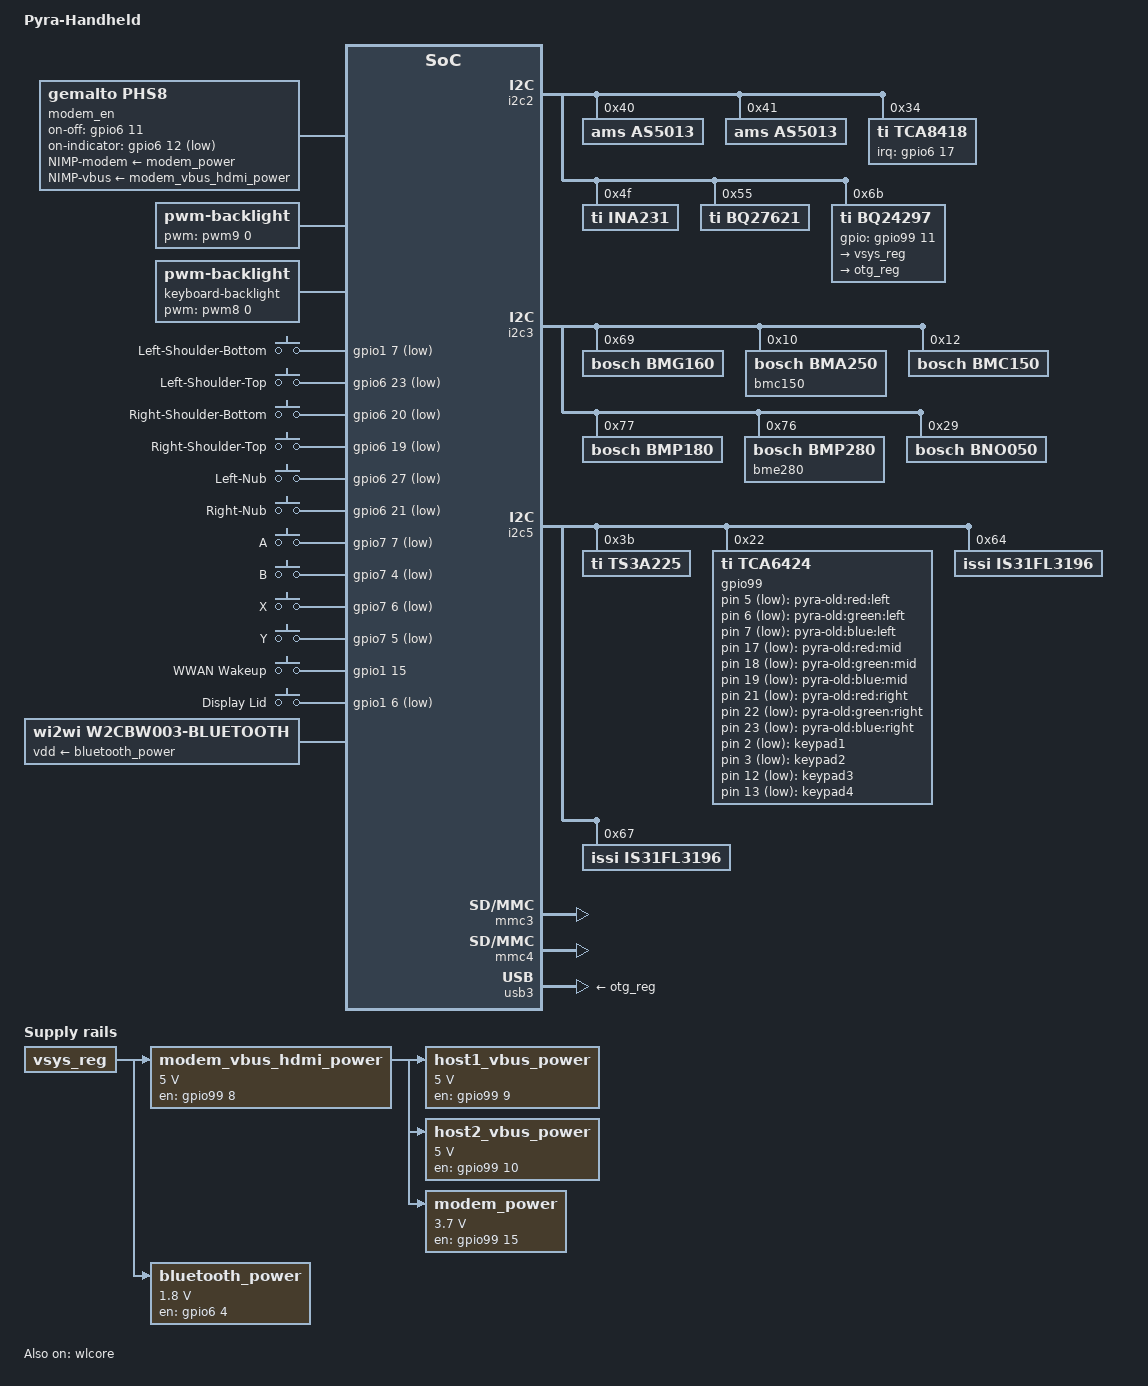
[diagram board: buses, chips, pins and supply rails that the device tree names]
/*
 * Copyright (C) 2015 OpenPandora - http://www.pyra-handheld.com/
 *
 * This program is free software; you can redistribute it and/or modify
 * it under the terms of the GNU General Public License version 2 as
 * published by the Free Software Foundation.
 */

/* overwrite device model */

/ {
	model = "Pyra-Handheld";

	/* common DC/DC converter for USB Host ports, Modem USB and HDMI 5V */
	modem_vbus_hdmi_power: tps2505_reg {
		compatible = "regulator-fixed";
		regulator-name = "modem_vbus_hdmi_power";
		regulator-min-microvolt = <5000000>;
		regulator-max-microvolt = <5000000>;
		gpio = <&gpio99 8 GPIO_ACTIVE_HIGH>;
		enable-active-high;
		startup-delay-us = <70000>;
		vin-supply = <&vsys_reg>;
		regulator-always-on;
	};

	/* this are the DC/DC converters that supply the
	   5V to USB devices connected to the Host ports.
	   They should be under the (software) control
	   of the USB3503A hub on the CPU board */

	host1_vbus_power: host1_vbus_power_reg {
		compatible = "regulator-fixed";
		regulator-name = "host1_vbus_power";
		regulator-min-microvolt = <5000000>;
		regulator-max-microvolt = <5000000>;
		gpio = <&gpio99 9 GPIO_ACTIVE_HIGH>;
		enable-active-high;
		startup-delay-us = <70000>;
		vin-supply = <&modem_vbus_hdmi_power>;
		regulator-always-on;
	};

	host2_vbus_power: host2_vbus_power_reg {
		compatible = "regulator-fixed";
		regulator-name = "host2_vbus_power";
		regulator-min-microvolt = <5000000>;
		regulator-max-microvolt = <5000000>;
		gpio = <&gpio99 10 GPIO_ACTIVE_HIGH>;
		enable-active-high;
		startup-delay-us = <70000>;
		vin-supply = <&modem_vbus_hdmi_power>;
		regulator-always-on;
	};

	/* this is the modem power switch (similar to a LDO) */
	modem_power: modem_power_reg {
		compatible = "regulator-fixed";
		regulator-name = "modem_vbus_power";
		regulator-min-microvolt = <3700000>;
		regulator-max-microvolt = <3700000>;
		gpio = <&gpio99 15 GPIO_ACTIVE_HIGH>;
		enable-active-high;
		startup-delay-us = <100000>;
		/* the real input is vsys but it makes no sense
		   to power the modem without requesting vbus */
		vin-supply = <&modem_vbus_hdmi_power>;
		regulator-always-on;
	};

	modem_en: modem { /* control modem power through rfkill */
		compatible = "gemalto,phs8";
		gpio-controller;
		#gpio-cells = <2>;
		pinctrl-names = "default";
		pinctrl-0 = <&pyra_modem_pins>;
		NIMP-usb-port = <&hsusb2_phy>; 	/* USB phy where we can check the modem status */
		on-off-gpio = <&gpio6 11 GPIO_ACTIVE_HIGH>;	/* gpio6_171: trigger to power on modem */
		on-indicator-gpio = <&gpio6 12 GPIO_ACTIVE_LOW>;	/* gpio6_172: modem power indication feedback GPIO */
		NIMP-modem-supply = <&modem_power>;		/* enable some external power regulator */
		/* VBUS supply should probably be controlled through the USB PHY driver for the modem port */
		NIMP-vbus-supply = <&modem_vbus_hdmi_power>;	/* apply VBUS to the modem */
	};

	backlight {
		compatible = "pwm-backlight";
		pwms = <&pwm9 0 2000000 0>;
		pwm-names = "backlight";
		brightness-levels = <0 11 20 30 40 50 60 70 80 90 100>;
		default-brightness-level = <10>;	/* => 90 */
		pinctrl-names = "default";
		pinctrl-0 = <&backlight_pins>;
	};

	pwm9: dmtimer-pwm@9 {
		compatible = "ti,omap-dmtimer-pwm";
		ti,timers = <&timer9>;
		#pwm-cells = <3>;
	};

	keyboard-backlight {
		compatible = "pwm-backlight";
		pwms = <&pwm8 0 2000000 0>;
		pwm-names = "keyboard";
		brightness-levels = <0 10 20 30 40 50 60 70 80 90 100>;
		default-brightness-level = <5>;
		pinctrl-names = "default";
		pinctrl-0 = <&keyboard_backlight_pins>;
	};

	pwm8: dmtimer-pwm@8 {
		compatible = "ti,omap-dmtimer-pwm";
		ti,timers = <&timer8>;
		#pwm-cells = <3>;
	};

};

/* add overlay pimmux for pyra on 5432evm */

&omap5_pmx_core {

	pinctrl-0 = <
			/* copied from original */
			&usbhost_pins
			&led_gpio_pins

			/* new entries */
			&pyra_button_pins
			&pyra_other_pins
	>;

/* this is for DragonFly V4 with the letux Cortex15 CPU board
// inputs
#define GPIO_LID 6			// lid close sensor - gpio1_wk6 - open collector output
#define GPIO_3G_PWR 172			// modem power indication - gpio6_172
#define GPIO_WAKEUP 15			// wakeup from modem - gpio1_wk15
#define GPIO_PENIRQ 173			// touch screen controller IRQ - gpio6_173
#define GPIO_LNUB_IRQ 175		// left nub IRQ - gpio6_175
#define GPIO_RNUB_IRQ 174		// right nub IRQ - gpio6_174
#define GPIO_KEYIRQ 177			// keyboard controller IRQ - gpio6-177
#define GPIO_RSH_TOP 179		// right top shoulder button - gpio6-179 - closes to GND
#define GPIO_RSH_BOT 180		// right bottom shoulder button - gpio6-180 - closes to GND
#define GPIO_RNUB 181			// right nub center button - gpio6-181 - closes to GND
#define GPIO_LNUB 187			// left nub center button - gpio6-187 - closes to GND
#define GPIO_LSH_TOP 183		// left top shoulder button - gpio6-183 - closes to GND
#define GPIO_LSH_BOT 7			// left bottom shoulder button - gpio1_wk7 - closes to GND
#define GPIO_VSYNC 189			// VSYNC input (gpio6_189 in: comes from panel)
// outputs
#define GPIO_3G_IGNITE 171		// start modem (active high pulse) - gpio6_171
#define GPIO_DISPEN 162			// enable TPS65133 or ssd2858 - gpio6_162
#define GPIO_DISPLAY_RESET 176		// panel reset (active low)/enable - gpio6_176
#define GPIO_PWM 190			// enable 18V backlight (active high) - timer9/gpio6_190 (out) - or input to track what the panel is doing
#define GPIO_PERIPHERAL_RESET 144	// device reset (active low)/enable - gpio5_144
*/

/* to find pinmux register offsets, see section A.7.2 in TRM

   note: offsets in the table are relative to 0x4a00 2800
   but reg = <0x4a002840 0x01b6> for omap5_pmx_core

   Therefore gpio5_153 with Address Offset 0x1D4
   translates into 0x194 (0xd0-0x40 => 0x90)
   and because it has [31:16] we have to add 0x02
   giving a result of 0x196.

   Definitions for bit patterns:
   0x0007	MUX_MODE0 .. MUX_MODE7
   0x0008	enable pull up/down
   0x0010	select pull up
   0x0020	disable power for I/O cell
   0x0100	enable input buffer (there is no explicit "enable output buffer" because that is defined by the GPIO direction)
   0x4000	enable wakeup detection

   or use the OMAP5_IOPAD() macros to do the conversion. You still have to look
   up the pin and register address offset in the TRM.
*/

	pyra_button_pins: pinmux_button_gpio_pins {
		pinctrl-single,pins = <
			OMAP5_IOPAD(0x1bc, PIN_INPUT_PULLUP | MUX_MODE6)	/* 0x1BC:[15:0] gpio5_140 - U */
			OMAP5_IOPAD(0x1be, PIN_INPUT_PULLUP | MUX_MODE6)	/* 0x1BC:[31:16] gpio5_141 - L */
			OMAP5_IOPAD(0x1c0, PIN_INPUT_PULLUP | MUX_MODE6)	/* 0x1C0:[15:0] gpio5_142 - D */
			OMAP5_IOPAD(0x1c2, PIN_INPUT_PULLUP | MUX_MODE6)	/* 0x1C0:[31:16] gpio5_143 - R */
			OMAP5_IOPAD(0x108, PIN_INPUT_PULLUP | MUX_MODE6)	/* 0x108:[15:0]  gpio6_179 - rsh-top */
			OMAP5_IOPAD(0x106, PIN_INPUT_PULLUP | MUX_MODE6)	/* 0x104:[31:16] gpio6_180 - rsh-bot */
			OMAP5_IOPAD(0x104, PIN_INPUT_PULLUP | MUX_MODE6)	/* 0x104:[15:0]  gpio6_181 - right nub */
			OMAP5_IOPAD(0x132, PIN_INPUT_PULLUP | MUX_MODE6)	/* 0x130:[31:16] gpio6_183 - lsh-top */
			OMAP5_IOPAD(0x13a, PIN_INPUT_PULLUP | MUX_MODE6)	/* 0x138:[31:16]  gpio6_187 - left nub */
			OMAP5_IOPAD(0x102, PIN_INPUT_PULLUP | MUX_MODE6)	/* 0x100:[31:16] gpio7_196 - B */
			OMAP5_IOPAD(0x0fc, PIN_INPUT_PULLUP | MUX_MODE6)	/* 0x0FC:[15:0] gpio7_197 - Y */
			OMAP5_IOPAD(0x0fe, PIN_INPUT_PULLUP | MUX_MODE6)	/* 0x0FC:[31:16] gpio7_198 - X */
			OMAP5_IOPAD(0x100, PIN_INPUT_PULLUP | MUX_MODE6)	/* 0x100:[15:0] gpio7_199 - A */
		>;
	};

	pyra_other_pins: pinmux_other_gpio_pins {
		pinctrl-single,pins = <
			OMAP5_IOPAD(0x0aa, PIN_INPUT_PULLUP | MUX_MODE6)	/* 0x0A8:[31:16] gpio3_77 - mmc3-cd */
			OMAP5_IOPAD(0x0ae, PIN_INPUT_PULLUP | MUX_MODE6)	/* 0x0AC:[31:16] gpio3_79 - mmc3-wp */
/* gpio 3_84-87 = BT HCI uart2 */
/* gpio 4_97-100 = GSM PCM mcbsp3 */
/* gpio 4_101-104 = BT PCM mcbsp1 */
/* gpio 4_105-107 = FM/DAC PCM mcbsp2 */
/* gpio 5_128-133 = mmc3 = wifi dsio */
/* gpio 5_134-137 = mmc4 = right SD slot */
			OMAP5_IOPAD(0x1c4, PIN_INPUT_PULLUP | MUX_MODE6)	/* 0x1C4:[15:0]  gpio5_144 - reset I2C peripherals */
/* gpio 5_155-156 = mmc4 = right SD slot / uart3 debug */
			OMAP5_IOPAD(0x114, PIN_INPUT | MUX_MODE6)	/* 0x114:[15:0]  gpio6_160 - revision 1 */
			OMAP5_IOPAD(0x12c, PIN_INPUT_PULLUP | MUX_MODE6)	/* 0x12C:[15:0]  gpio6_161 - TCA6424 active low interrupt */

/* next should be outputs and controlled by some driver (e.g. regulator-fixed) */
			OMAP5_IOPAD(0x128, PIN_INPUT_PULLDOWN | MUX_MODE6)	/* 0x128:[15:0]  gpio6_165 - Speaker EN */

/* gpio 5_167-168 = uart3 Pyra console - is handled by MLO! */
			OMAP5_IOPAD(0x11c, PIN_INPUT_PULLUP | MUX_MODE6)	/* 0x11C:[15:0]  gpio6_169 - Accelerometer interrupt */
			OMAP5_IOPAD(0x11a, PIN_INPUT_PULLUP | MUX_MODE6)	/* 0x118:[31:16]  gpio6_170 - Magnetometer interrupt */
			OMAP5_IOPAD(0x114, PIN_INPUT_PULLUP | MUX_MODE6)	/* 0x114:[15:0]  gpio6_173 - touch screen penirq */
			OMAP5_IOPAD(0x112, PIN_INPUT_PULLUP | MUX_MODE6)	/* 0x110:[31:16]  gpio6_174 - right NUB int */
			OMAP5_IOPAD(0x110, PIN_INPUT_PULLUP | MUX_MODE6)	/* 0x110:[15:0]  gpio6_175 - left NUB int */
			OMAP5_IOPAD(0x10c, PIN_INPUT_PULLUP | MUX_MODE6)	/* 0x10C:[15:0]  gpio6_177 - keyboard int */
			OMAP5_IOPAD(0x10a, PIN_INPUT_PULLUP | MUX_MODE6)	/* 0x108:[31:16]  gpio6_178 - fm int */
			OMAP5_IOPAD(0x130, PIN_INPUT | MUX_MODE6)	/* 0x130:[15:0]  gpio6_182 - revision 2 */
			OMAP5_IOPAD(0x136, PIN_INPUT | MUX_MODE6)	/* 0x134:[31:16]  gpio6_185 - revision 3 */
			OMAP5_IOPAD(0x138, PIN_INPUT_PULLUP | MUX_MODE6)	/* 0x138:[15:0]  gpio6_186 - Gyroscope interrupt */
/* gpio 8_228-229 = mmc1 = left SD slot WP/CD */
		>;
	};

	pyra_modem_pins: pinmux_moden_gpio_pins {
		pinctrl-single,pins = <
			OMAP5_IOPAD(0x118, PIN_OUTPUT_PULLDOWN | MUX_MODE6)	/* 0x118:[15:0]  gpio6_171 - modem ignite */
			OMAP5_IOPAD(0x116, PIN_INPUT | MUX_MODE6)	/* 0x114:[31:16]  gpio6_172 - modem power indication */
		>;
	};

	backlight_pins: pinmux_backlight_pins {
		pinctrl-single,pins = <
			/* MUX_MODE0 for PWM_TIMER9, MUX_MODE6 for GPIO, MUX_MODE7 if panel provides the PWM signal */
			OMAP5_IOPAD(0x0f6, PIN_OUTPUT_PULLDOWN | MUX_MODE0)	/* 0x0F4:[31:16] timer9/gpio6_190 */
		>;
	};

	keyboard_backlight_pins: pinmux_keyboard_backlight_pins {
		pinctrl-single,pins = <
			/* MUX_MODE0 for PWM_TIMER8, MUX_MODE6 for GPIO */
			OMAP5_IOPAD(0x178, PIN_OUTPUT_PULLDOWN | MUX_MODE0)	/* 0x178:[15:0] timer8/gpio8_230 */
		>;
	};

};

&omap5_pmx_wkup {

	letux_wkup_pins: pinmux_wkup_pins {
		pinctrl-single,pins = <
			OMAP5_IOPAD(0x078, PIN_OUTPUT | MUX_MODE6)	/* 0x078:[15:0]  gpio1_wkout4 - second LED on CPU board */
			OMAP5_IOPAD(0x046, WAKEUP_EN | PIN_INPUT | MUX_MODE6)	/* 0x044:[31:16]  gpio1_wk7 - boot select input */
		>;
	};

	lid_pin: pinmux_lid_pin {
		pinctrl-single,pins = <
			OMAP5_IOPAD(0x044, WAKEUP_EN | PIN_INPUT_PULLUP | MUX_MODE6)	/* 0x044:[15:0] gpio1_wk6 - lid */
		>;
	};

	wwan_pins: pinmux_wwan_pins {
		pinctrl-single,pins = <
			OMAP5_IOPAD(0x042, WAKEUP_EN | PIN_INPUT_PULLUP | MUX_MODE6)	/* 0x040:[31:16] gpio1_wk15 - modem wakeup */
		>;
	};
};

/* register devices connected to Peripheral-I2C */
&i2c2 {

	/* left nub */
	as5013@40 {
		compatible = "ams,as5013";
		reg = <0x40>;
		// gpios = <&gpio...>, <&gpio>;
		// irq
	};

	/* right nub */
	as5013@41 {
		compatible = "ams,as5013";
		reg = <0x41>;
		// gpios = <&gpio...>, <&gpio>;
		// irq
	};

	/* keyboard scanner */
	tca8418@34 {
		compatible = "ti,tca8418";	/* this translates into request_module("i2c:tca8418")
									   so it must be known as a MODULE_ALIAS to modprobe -c */
		reg = <0x34>;
		/* the interrupt is specified as:
			The first cell is the GPIO number.
			The second cell is used to specify flags:
			bits[3:0] trigger type and level flags:
				1 = low-to-high edge triggered.
				2 = high-to-low edge triggered.
				4 = active high level-sensitive.
				8 = active low level-sensitive.
		 */
		interrupt-parent = <&gpio6>;
		interrupts = <17 IRQ_TYPE_EDGE_RISING>;	/* gpio6_177 low-to-high edge */
		keypad,num-rows = <8>;
		keypad,num-columns = <10>;
		linux,keymap = <
	/* The 32-bit big endian cell is packed as: row << 24 | column << 16 | key-code */

			0x0306003b
			0x0203003c
			0x02040057
			0x01080058
			0x0102003d
			0x0701003e
			0x07030002
			0x06070003
			0x06010004
			0x05050005
			0x06060006
			0x04030007
			0x03070008
			0x03050009
			0x0205000a
			0x0107000b
			0x0702000e
			0x0503000f
			0x06040010
			0x05080011
			0x05020012
			0x04060013
			0x06020014
			0x03040015
			0x02080016
			0x02020017
			0x01060018
			0x00050019
			0x0004001c
			0x0400002a
			0x0506001e
			0x0401001f
			0x04040020
			0x03080021
			0x03020022
			0x02060023
			0x01030024
			0x01040025
			0x00080026
			0x00020036
			0x07060033
			0x06030034
			0x0507002c
			0x0501002d
			0x0405002e
			0x0407002f
			0x03030030
			0x02070031
			0x07040032
			0x01050039
			0x00070039
			0x00000064
			0x01090069
			0x0309006a
			0x00090067
			0x0209006c
			0x05090066
			0x0709006b
			0x04090068
			0x0609006d
			0x03000038
			0x0200001d
			0x01000001
			0x00010036
			0x0101004e
			0x03010061
			0x0201004a
			0x07000110
			0x06000111
		>;
	};

	/* modem current sensor */
	ina231@4f {
		compatible = "ti,ina231";
		reg = <0x4f>;
		shunt-resistor = <20000>;	/* 20 mOhm */
	};

	/* fuel gauge variant 1 */
/* not installed due to bus speed issue
	bq27200@55 {
		compatible = "ti,bq27200";
		status = "disabled";
		reg = <0x55>;
	};
*/

	/* fuel gauge variant 2 */
/* not installed due to bus speed issue
	bq27510@55 {
		compatible = "ti,bq27510";
		reg = <0x55>;
	};
*/

	/* fuel gauge variant 3 */
	bq27621@55 {
		compatible = "ti,bq27621";
		reg = <0x55>;
	};

	/* charger */
	bq24297@6b {
		/* FIXME: driver is quite broken because it is a hack */
		compatible = "ti,bq24297";
		reg = <0x6b>;
		ti,chg_current = <1000 2000 2000>;	// chg_current (max for the battery), usb_input_current, adp_input_current
		gpios = <&gpio99 11 0>,		// chg_irq_pin
			<0>;			// dc_det_pin - if 0, charger is switched by driver to 2048mA, otherwise 512mA
		regulators {
			vsys_reg: vsys_regulator {
				/* add information */
				regulator-compatible = "bq2429x-vsys";
				regulator-name = "vsys";
//				regulator-min-microvolt = <3700000>;
//				regulator-max-microvolt = <3700000>;
				regulator-always-on;
				regulator-boot-on;
			};
			otg_reg: otg_regulator {
				/* add information */
				regulator-compatible = "bq2429x-otg";
				regulator-name = "otg";
//				regulator-min-microvolt = <5000000>;
//				regulator-max-microvolt = <5000000>;
			};
		};
	};

};

/* register devices connected to Sensor-I2C */
&i2c3 {
	/* optional gyroscope sensor */
	bmg160@69 {
		compatible = "bosch,bmg160";
		reg = <0x69>;
// irq
	};
	/* optional accelerometer sensor */
	bmc150@10 {
		compatible = "bosch,bma250";
		reg = <0x10>;
/*		pinctrl-names = "default";
		pinctrl-0 = <&bmc150_pins>;
		interrupt-parent = <&gpio6>;
		interrupts = <9 (IRQ_TYPE_LEVEL_HIGH | IRQ_TYPE_EDGE_RISING)>;	/* gpio6_169 * /
*/
	};
	/* optional compass sensor */
	bmc150@12 {
		compatible = "bosch,bmc150";
		reg = <0x12>;
// irq
	};
	/* optional barometer sensor */
	bmp180@77 {
		compatible = "bosch,bmp180";
		reg = <0x77>;
	};
	/* optional barometer/hygrometer sensor */
	bme280@76 {
		// compatible = "bosch,bme280";
		/* ovrwrite to use the bmp280 driver */
		compatible = "bosch,bmp280";
		reg = <0x76>;
	};
	/* optional 9-axis sensor */
	bno050@29 {
		compatible = "bosch,bno050";
		reg = <0x29>;
// irq
	};
};

/* register devices connected to System-I2C */
&i2c5 {
	/* microphone detect */
	ts3a225@3b {
		compatible = "ti,ts3a225";
		reg = <0x3b>;
// irq
	};

	/* system/keyboard-led and other controls */
	gpio99: tca6424@22 {
		compatible = "ti,tca6424";
		interrupt-parent = <&gpio6>;
//		interrupts = <1 IRQ_TYPE_LEVEL_LOW>;	/* gpio6_161 */
		reg = <0x22>;
		gpio-controller;
		#gpio-cells = <2>;
		open-drain-pins = <2 3 5 6 7 12 13 17 18 19 21 22 23>;
	};

	is31fl3196@64-left-mid {
		compatible = "issi,is31fl3196";
		#address-cells = <1>;
		#size-cells = <0>;
		reg = <0x64>;

		left_led0: red_left@0 {
			label = "pyra:red:left";
			reg = <0>;
			linux,default-trigger = "mmc0";
		};

		left_led1: green_left@1 {
			label = "pyra:green:left";
			reg = <1>;
			linux,default-trigger = "heartbeat";
		};

		left_led2: blue_left@2 {
			label = "pyra:blue:left";
			reg = <2>;
			linux,default-trigger = "timer";
		};

		mid_led3: red_mid@3 {
			label = "pyra:red:mid";
			reg = <3>;
			linux,default-trigger = "default-on";
		};

		mid_led4: green_mid@4 {
			label = "pyra:green:mid";
			reg = <4>;
			linux,default-trigger = "timer";
		};

		mid_led5: blue_mid@5 {
			label = "pyra:blue:mid";
			reg = <5>;
			linux,default-trigger = "mmc0";
		};
	};

	is31fl3196@67-right {
		compatible = "issi,is31fl3196";
		#address-cells = <1>;
		#size-cells = <0>;
		reg = <0x67>;

		right_led0: red_right@0 {
			label = "pyra:red:right";
			reg = <0>;
			linux,default-trigger = "mmc0";
		};

		right_led1: green_right@1 {
			label = "pyra:green:right";
			reg = <1>;
			linux,default-trigger = "heartbeat";
		};

		right_led2: blue_right@2 {
			label = "pyra:blue:right";
			reg = <2>;
			linux,default-trigger = "timer";
		};
	};

};

/ {
	pyra_leds { /* historical for V4 main boards */
		compatible = "gpio-leds";
		led@1 {
			label = "pyra-old:red:left";
			gpios = <&gpio99 5 GPIO_ACTIVE_LOW>;
			linux,default-trigger = "mmc0";
			default-state = "off";
		};

		led@2 {
			label = "pyra-old:green:left";
			gpios = <&gpio99 6 GPIO_ACTIVE_LOW>;
			linux,default-trigger = "none";
			default-state = "off";
		};

		led@3 {
			label = "pyra-old:blue:left";
			gpios = <&gpio99 7 GPIO_ACTIVE_LOW>;
			linux,default-trigger = "none";
			default-state = "off";
		};

		led@4 {
			label = "pyra-old:red:mid";
			gpios = <&gpio99 17 GPIO_ACTIVE_LOW>;
			linux,default-trigger = "mmc1";
			default-state = "off";
		};

		led@5 {
			label = "pyra-old:green:mid";
			gpios = <&gpio99 18 GPIO_ACTIVE_LOW>;
			linux,default-trigger = "none";
			default-state = "off";
		};

		led@6 {
			label = "pyra-old:blue:mid";
			gpios = <&gpio99 19 GPIO_ACTIVE_LOW>;
			linux,default-trigger = "timer";
			default-state = "off";
		};

		led@7 {
			label = "pyra-old:red:right";
			gpios = <&gpio99 21 GPIO_ACTIVE_LOW>;
			linux,default-trigger = "heartbeat";
			default-state = "off";
		};

		led@8 {
			label = "pyra-old:green:right";
			gpios = <&gpio99 22 GPIO_ACTIVE_LOW>;
			linux,default-trigger = "none";
			default-state = "off";
		};

		led@9 {
			label = "pyra-old:blue:right";
			gpios = <&gpio99 23 GPIO_ACTIVE_LOW>;
			linux,default-trigger = "none";
			default-state = "off";
		};

	};

	keypad_leds { /* historical for V4 main boards */
		compatible = "gpio-leds";

		led@1 {
			label = "keypad1";
			gpios = <&gpio99 2 GPIO_ACTIVE_LOW>;
			linux,default-trigger = "none";
			default-state = "off";
		};

		led@2 {
			label = "keypad2";
			gpios = <&gpio99 3 GPIO_ACTIVE_LOW>;
			linux,default-trigger = "none";
			default-state = "off";
		};

		led@3 {
			label = "keypad3";
			gpios = <&gpio99 12 GPIO_ACTIVE_LOW>;
			linux,default-trigger = "none";
			default-state = "off";
		};

		led@4 {
			label = "keypad4";
			gpios = <&gpio99 13 GPIO_ACTIVE_LOW>;
			linux,default-trigger = "none";
			default-state = "off";
		};
	};
};

/ {

	user-button {
		/* is bound to gpio1_wk7 which we want to reassign */
		/delete-node/ BOOTSEL;
	};

	pyra-gpio-keys@1 {
		compatible = "gpio-keys";

		#address-cells = <7>;
		#size-cells = <0>;

		left_shoulder_bottom {
			label = "Left-Shoulder-Bottom";
			linux,code = <54>;	/* KEY_RSHIFT */
			gpios = <&gpio1 7 GPIO_ACTIVE_LOW>;	/* gpio1_wk7 */
			gpio-key,wakeup;
		};

		left_shoulder_top {
			label = "Left-Shoulder-Top";
			linux,code = <126>;	/* KEY_RMETA */
			gpios = <&gpio6 23 GPIO_ACTIVE_LOW>;	/* gpio6_183 */
			gpio-key,wakeup;
		};

		right_shoulder_bottom {
			label = "Right-Shoulder-Bottom";
			linux,code = <97>;	/* KEY_RCTRL */
			gpios = <&gpio6 20 GPIO_ACTIVE_LOW>;	/* gpio6_180 */
			gpio-key,wakeup;
		};

		right_shoulder_top {
			label = "Right-Shoulder-Top";
			linux,code = <100>;	/* KEY_RALT */
			gpios = <&gpio6 19 GPIO_ACTIVE_LOW>;	/* gpio6_179 */
			gpio-key,wakeup;
		};

		left_nub {
			label = "Left-Nub";
			linux,code = <76>;	/* KEY_KP5 */
			gpios = <&gpio6 27 GPIO_ACTIVE_LOW>;	/* gpio6_187 */
			gpio-key,wakeup;
		};

		right_nub {
			label = "Right-Nub";
			linux,code = <82>;	/* KEY_KP0 */
			gpios = <&gpio6 21 GPIO_ACTIVE_LOW>;	/* gpio6_181 */
			gpio-key,wakeup;
		};

		button_a {
			label = "A";
			linux,code = <102>;	/* KEY_HOME */
			gpios = <&gpio7 7 GPIO_ACTIVE_LOW>;	/* gpio7_199 */
			gpio-key,wakeup;
		};

		button_b {
			label = "B";
			linux,code = <107>;	/* KEY_END */
			gpios = <&gpio7 4 GPIO_ACTIVE_LOW>;	/* gpio7_196 */
			gpio-key,wakeup;
		};

		button_x {
			label = "X";
			linux,code = <109>;	/* KEY_PGDOWN */
			gpios = <&gpio7 6 GPIO_ACTIVE_LOW>;	/* gpio7_198 */
			gpio-key,wakeup;
		};

		button_y {
			label = "Y";
			linux,code = <104>;	/* KEY_PGUP */
			gpios = <&gpio7 5 GPIO_ACTIVE_LOW>;	/* gpio7_197 */
			gpio-key,wakeup;
		};
	};

	pyra-gpio-keys@2 {
		compatible = "gpio-keys";

		#address-cells = <2>;
		#size-cells = <0>;

		wwan_wakeup {
			label = "WWAN Wakeup";
			linux,code = <240>;	/* KEY_UNKNOWN */
			pinctrl-names = "default";
			pinctrl-0 = <&wwan_pins>;
			gpios = <&gpio1 15 GPIO_ACTIVE_HIGH>;	/* gpio1_wk15 */
			gpio-key,wakeup;
			/* debounce-interval */
		};

		display_lid {
			label = "Display Lid";
			pinctrl-names = "default";
			pinctrl-0 = <&lid_pin>;
			linux,input-type = <5>; /* EV_SW */
			linux,code = <0>; /* SW_LID */
			gpios = <&gpio1 6 GPIO_ACTIVE_LOW>;	/* gpio1_wk6 */
			gpio-key,wakeup;
		};

	};

};

&tpd12s015 {
	compatible = "ti,tpd12s015";
	gpios = <&gpio99 0 GPIO_ACTIVE_HIGH>,	/* TCA6424A P01, CT CP HPD */
		<&gpio99 1 GPIO_ACTIVE_HIGH>,	/* TCA6424A P00, LS OE */
		<&gpio7 1 GPIO_ACTIVE_HIGH>;	/* GPIO 193, HPD */
};

/* more things to do
 * add a regulator-gpio for the LCD
 */

/* used in gpio mode for shoulder buttons etc. */

&mcspi1 {
	status = "disabled";
};

&mcspi2 {
	status = "disabled";
};

/*
 * configure WLAN/Bluetooth module - http://processors.wiki.ti.com/index.php/WL18xx_Platform_Integration_Guide#For_kernels_with_device_tree_support
 * and see http://lxr.free-electrons.com/source/Documentation/devicetree/bindings/net/wireless/ti,wlcore.txt
 */

&wlan_pins {
	status = "okay";
	pinctrl-single,pins = <
		OMAP5_IOPAD(0x126, PIN_OUTPUT | MUX_MODE6)	/* 0x124:[31:16]  gpio6_163 - WLAN EN */
	>;
};

&vmmcsdio_fixed {
	gpio = <&gpio6 3 GPIO_ACTIVE_HIGH>;	/* GPIO6_163 */
};

&mmc3 { /* we have a WLAN module on mmc3 */
	status = "okay";
};

&wlcore {
	status = "okay";
	compatible = "ti,wl1835";	/* or ti,wl1837" */
};

&omap5_pmx_core {
	bt_pins: pinmux_bt_pins {
		pinctrl-single,pins = <
			OMAP5_IOPAD(0x12a, PIN_OUTPUT | MUX_MODE6)	/* 0x128:[31:16]  gpio6_164 - BT EN */
		>;
	};

};

/ {
	bluetooth_power: bt_en {
		compatible = "regulator-fixed";
		pinctrl-names = "default";
		pinctrl-0 = <&bt_pins>;
		regulator-name = "bt_power";
		regulator-min-microvolt = <1800000>;
		regulator-max-microvolt = <1800000>;
		gpio = <&gpio6 4 GPIO_ACTIVE_HIGH>;	/* GPIO6_164 */
		enable-active-high;
		startup-delay-us = <70000>;
		vin-supply = <&vsys_reg>;
	};

	bluetooth: tiwi {
		/* we can (mis)use the same driver */
		compatible = "wi2wi,w2cbw003-bluetooth";
		uart = <&uart2>;
		vdd-supply = <&bluetooth_power>;
	};
};

/* rearrange to use gpio6_167/168 for console UART3 instead of sdio4_cmd/clk */

&uart3_pins {
	pinctrl-single,pins = <
		OMAP5_IOPAD(0x11e, PIN_OUTPUT | MUX_MODE4) /* uart3_tx_irtx gpio6_168 */
		OMAP5_IOPAD(0x120, PIN_INPUT_PULLUP | MUX_MODE4) /* uart3_rx_irrx gpio6_167 */
	>;
};

&mmc4 { /* enable second (µ)SD slot (SDIO capable) */
	status = "okay";
};

&twl6040 {
	vddvibl-supply = <&vsys_reg>;
	vddvibr-supply = <&vsys_reg>;

	vibra {
		ti,vibldrv-res = <8>;
		ti,vibrdrv-res = <3>;
		ti,viblmotor-res = <32>;
		ti,vibrmotor-res = <999999>;	/* no motor */
	};
};

/* we do not use the Palmas OTG step-up converter */

&usb3 {
	vbus-supply = <&otg_reg>;
};

&smps10_out1_reg {
	/* never turn on or it may burn the Palmas! */
	status = "disabled";
};
